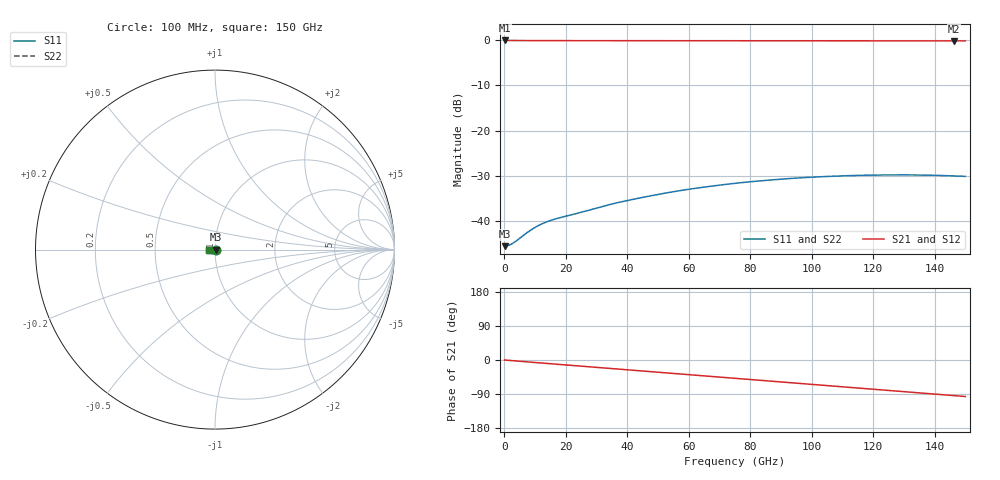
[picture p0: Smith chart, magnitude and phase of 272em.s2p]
#  Hz  S  RI  R  50
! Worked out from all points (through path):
!   1500 points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, 100 MHz to 150 GHz, reference 50 ohm
!   highest |S21| = -0.04 dB at 100 MHz (marker M1); lowest = -0.1 dB at 146.4 GHz (marker M2)
!   group delay of S21, straight-line fit = 1.78 ps
!   lowest |S11| = -45.6 dB at 100 MHz (marker M3), VSWR 1.01, Z = 50.5 + j0.00163 ohm
!   |S11| at or under -10 dB: start of sweep to end of sweep
!   |S22| runs from -45.6 to -29.8 dB; largest |S21 - S12| = 6.6e-06
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1e8  0.00525 1.61e-05  0.9949 -0.00118  0.9949 -0.00118  0.00525 1.63e-05
1.3e9  0.00534 0.0002  0.9947 -0.0154  0.9947 -0.0154  0.00534 0.000202
2.6e9  0.00559 0.000344  0.994 -0.0307  0.994 -0.0307  0.0056 0.000348
3.8e9  0.00596 0.000383  0.9931 -0.0447  0.9931 -0.0447  0.00596 0.000389
7e9  0.00723 -0.000125  0.9893 -0.0812  0.9893 -0.0812  0.00724 -0.000116
8.7e9  0.00791 -0.000776  0.9868 -0.1001  0.9868 -0.1001  0.00791 -0.000764
1.06e10  0.00851 -0.00175  0.9837 -0.121  0.9837 -0.121  0.00852 -0.00174
1.26e10  0.00892 -0.00294  0.9802 -0.1427  0.9802 -0.1427  0.00892 -0.00293
1.45e10  0.00907 -0.00413  0.9767 -0.1633  0.9767 -0.1633  0.00907 -0.00411
1.67e10  0.009 -0.00546  0.9722 -0.1871  0.9722 -0.1871  0.009 -0.00544
2.51e10  0.00788 -0.00967  0.9496 -0.2775  0.9496 -0.2775  0.00788 -0.00964
3.69e10  0.00512 -0.0151  0.9041 -0.3997  0.9041 -0.3997  0.00513 -0.015
5.01e10  0.000299 -0.0196  0.8347 -0.528  0.8347 -0.528  0.000306 -0.0196
6.11e10  -0.0046 -0.0222  0.7631 -0.6263  0.7631 -0.6263  -0.0046 -0.0221
7.51e10  -0.0113 -0.0235  0.6557 -0.7373  0.6557 -0.7373  -0.0113 -0.0234
8.77e10  -0.0173 -0.0228  0.5452 -0.8217  0.5452 -0.8217  -0.0173 -0.0227
1.001e11  -0.0226 -0.0205  0.4261 -0.8888  0.4261 -0.8888  -0.0226 -0.0204
1.129e11  -0.027 -0.0167  0.2948 -0.9401  0.2948 -0.9401  -0.027 -0.0166
1.251e11  -0.0299 -0.0121  0.164 -0.971  0.164 -0.971  -0.0299 -0.012
1.358e11  -0.0313 -0.00765  0.0468 -0.9836  0.0468 -0.9836  -0.0313 -0.00755
1.464e11  -0.0313 -0.00311  -0.0698 -0.9817  -0.0697 -0.9817  -0.0313 -0.003
1.5e11  -0.0311 -0.00167  -0.1091 -0.9782  -0.1091 -0.9782  -0.0311 -0.00156
